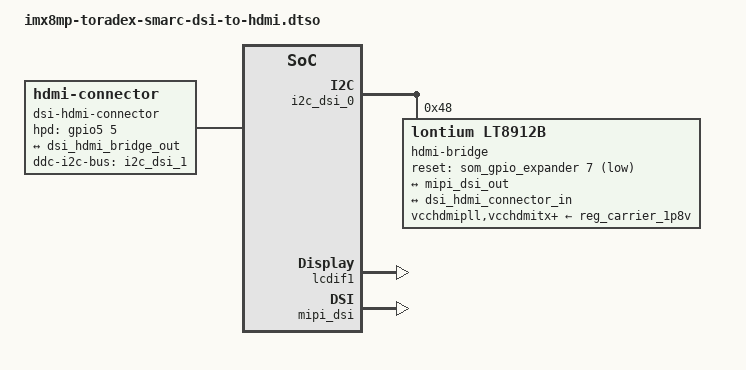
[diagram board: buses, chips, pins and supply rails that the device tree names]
// SPDX-License-Identifier: GPL-2.0-only OR MIT
/*
 * Copyright (c) Toradex
 *
 * Toradex DSI to HDMI Adapter connected via Toradex SMARC Development
 * Board DSI connector J44. Open J95 to select the carrier DSI route.
 *
 * https://developer.toradex.com/hardware/accessories/add-ons/dsi-hdmi-adapter
 * https://www.toradex.com/accessories/verdin-dsi-to-hdmi-adapter
 */

/dts-v1/;
/plugin/;

#include <dt-bindings/gpio/gpio.h>

#include "imx8mp-pinfunc.h"

&{/} {
	dsi-hdmi-connector {
		compatible = "hdmi-connector";
		pinctrl-names = "default";
		pinctrl-0 = <&pinctrl_hdmi_hpd>;
		/* I2C on DSI Connector Pins 52/54 */
		ddc-i2c-bus = <&i2c_dsi_1>;
		/* SMARC LCD1_BKLT_PWM (SMARC S122) - HPD */
		hpd-gpios = <&gpio5 5 GPIO_ACTIVE_HIGH>;
		type = "a";

		port {
			dsi_hdmi_connector_in: endpoint {
				remote-endpoint = <&dsi_hdmi_bridge_out>;
			};
		};
	};
};

/* I2C on DSI Connector Pins 4/6 */
&i2c_dsi_0 {
	#address-cells = <1>;
	#size-cells = <0>;

	hdmi-bridge@48 {
		compatible = "lontium,lt8912b";
		reg = <0x48>;
		/* SMARC LCD1_BKLT_EN (SMARC S107) */
		reset-gpios = <&som_gpio_expander 7 GPIO_ACTIVE_LOW>;
		vcchdmipll-supply = <&reg_carrier_1p8v>;
		vcchdmitx-supply = <&reg_carrier_1p8v>;
		vcclvdspll-supply = <&reg_carrier_1p8v>;
		vcclvdstx-supply = <&reg_carrier_1p8v>;
		vccmipirx-supply = <&reg_carrier_1p8v>;
		vccsysclk-supply = <&reg_carrier_1p8v>;
		vdd-supply = <&reg_carrier_1p8v>;

		ports {
			#address-cells = <1>;
			#size-cells = <0>;

			port@0 {
				reg = <0>;

				dsi_hdmi_bridge_in: endpoint {
					data-lanes = <1 2 3 4>;
					remote-endpoint = <&mipi_dsi_out>;
				};
			};

			port@1 {
				reg = <1>;

				dsi_hdmi_bridge_out: endpoint {
					remote-endpoint = <&dsi_hdmi_connector_in>;
				};
			};
		};
	};
};

&lcdif1 {
	status = "okay";
};

&mipi_dsi {
	samsung,esc-clock-frequency = <16000000>;

	status = "okay";
};

&mipi_dsi_out {
	remote-endpoint = <&dsi_hdmi_bridge_in>;
};

/* SMARC LCD1_BKLT_PWM (SMARC S122) repurposed as HDMI HPD GPIO */
&pwm1 {
	status = "disabled";
};

&iomuxc {
	pinctrl_hdmi_hpd: hdmihpdgpiogrp {
		fsl,pins = <MX8MP_IOMUXC_SPDIF_EXT_CLK__GPIO5_IO05	0x104>; /* SMARC S122 - LCD1_BKLT_PWM */
	};
};
